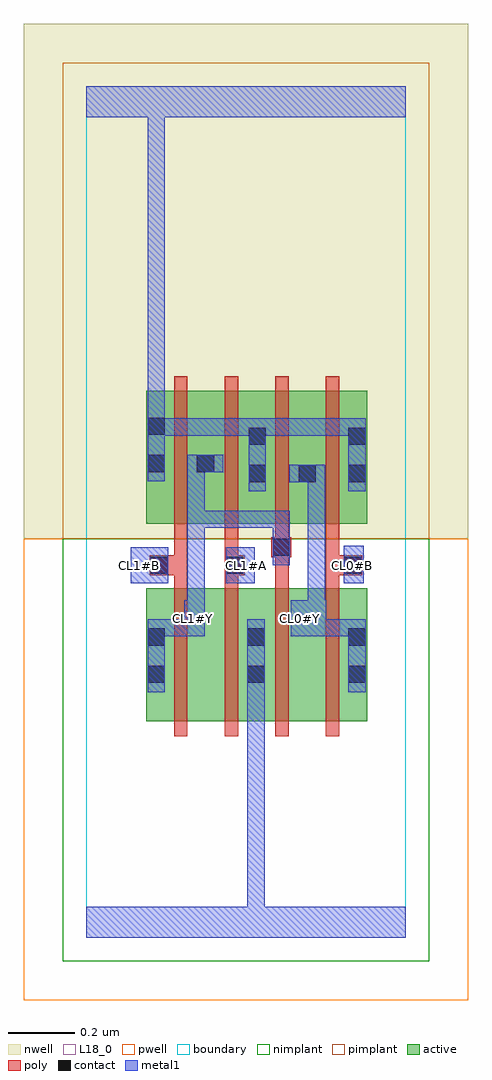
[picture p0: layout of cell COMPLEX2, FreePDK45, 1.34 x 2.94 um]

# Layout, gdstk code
import gdstk
lib = gdstk.Library(unit=1e-6, precision=1e-09)
def R(c, l, rs):  # rectangles x0, y0, x1, y1
    for r in rs: c.add(gdstk.rectangle(r[:2], r[2:], *l))
def A(c, l, x, y, w, h, nx, ny, dx, dy):  # array of equal rectangles
    R(c, l, [(x+i*dx, y+j*dy, x+i*dx+w, y+j*dy+h) for i in range(nx) for j in range(ny)])
active = (1, 0)
pwell = (2, 0)
nwell = (3, 0)
nimplant = (4, 0)
pimplant = (5, 0)
poly = (9, 0)
contact = (10, 0)
metal1 = (11, 0)
L18_0 = (18, 0)
boundary = (235, 0)

complex2 = lib.new_cell('COMPLEX2')
A(complex2, active, 0.484, 1.244, 0.06, 0.4, 3, 1, 0.15, 0)
R(complex2, active, [(0.18,0.65,0.36,1.05), (0.36,0.65,0.54,1.05), (0.48,0.65,0.664,1.05), (0.664,0.65,0.844,1.05), (0.18,0.756,0.24,1.05), (0.48,0.756,0.54,0.934), (0.784,0.756,0.844,1.05), (0.18,1.244,0.24,1.644), (0.18,1.244,0.388,1.644), (0.328,1.244,0.388,1.644), (0.328,1.244,0.544,1.644), (0.484,1.244,0.694,1.644), (0.634,1.244,0.844,1.644)])
R(complex2, pwell, [(-0.188,-0.188,1.148,1.2)])
R(complex2, nwell, [(-0.188,1.2,1.148,2.748)])
R(complex2, nimplant, [(-0.072,-0.072,1.032,1.2)])
R(complex2, pimplant, [(-0.072,1.2,1.032,2.632)])
A(complex2, poly, 0.264, 0.606, 0.04, 0.488, 4, 2, 0.152, 0.594)
R(complex2, poly, [(0.264,1.054,0.304,1.13), (0.416,1.054,0.456,1.13), (0.568,1.054,0.608,1.184), (0.72,1.054,0.76,1.13), (0.19,1.09,0.304,1.15), (0.264,1.09,0.304,1.13), (0.264,1.09,0.304,1.13), (0.416,1.09,0.476,1.15), (0.72,1.09,0.76,1.13), (0.72,1.09,0.76,1.13), (0.72,1.09,0.83,1.15), (0.264,1.11,0.304,1.24), (0.416,1.11,0.456,1.24), (0.416,1.11,0.456,1.15), (0.416,1.11,0.456,1.15), (0.72,1.11,0.76,1.24), (0.556,1.144,0.616,1.204), (0.568,1.144,0.608,1.184), (0.568,1.144,0.608,1.184), (0.568,1.164,0.608,1.24)])
A(complex2, contact, 0.488, 1.37, 0.052, 0.052, 3, 1, 0.15, 0)
R(complex2, contact, [(0.184,0.766,0.236,0.818), (0.484,0.766,0.536,0.818), (0.788,0.766,0.84,0.818), (0.184,0.878,0.236,0.93), (0.484,0.878,0.536,0.93), (0.788,0.878,0.84,0.93), (0.194,1.094,0.246,1.146), (0.42,1.094,0.472,1.146), (0.774,1.094,0.826,1.146), (0.56,1.148,0.612,1.2), (0.184,1.4,0.236,1.452), (0.332,1.4,0.384,1.452), (0.488,1.482,0.54,1.534), (0.788,1.482,0.84,1.534), (0.184,1.512,0.236,1.564)])
R(complex2, metal1, [(0,0,0.96,0.092), (0.484,0.04,0.536,0.79), (0.184,0.738,0.236,0.958), (0.484,0.738,0.536,0.79), (0.484,0.738,0.536,0.79), (0.484,0.738,0.536,0.79), (0.484,0.738,0.536,0.79), (0.484,0.738,0.536,0.79), (0.484,0.738,0.536,0.79), (0.484,0.738,0.536,0.79), (0.484,0.738,0.536,0.79), (0.484,0.738,0.536,0.79), (0.484,0.738,0.536,0.79), (0.484,0.738,0.536,0.79), (0.484,0.738,0.536,0.79), (0.484,0.738,0.536,0.958), (0.788,0.738,0.84,0.958), (0.184,0.906,0.236,0.958), (0.184,0.906,0.236,0.958), (0.184,0.906,0.236,0.958), (0.184,0.906,0.236,0.958), (0.184,0.906,0.346,0.958), (0.294,0.906,0.356,1.014), (0.614,0.906,0.722,1.014), (0.67,0.906,0.722,0.958), (0.67,0.906,0.722,0.958), (0.67,0.906,0.84,0.958), (0.788,0.906,0.84,0.958), (0.788,0.906,0.84,0.958), (0.304,0.962,0.356,1.284), (0.666,0.962,0.718,1.422), (0.134,1.066,0.246,1.174), (0.42,1.066,0.506,1.174), (0.774,1.066,0.834,1.178), (0.56,1.12,0.612,1.284), (0.304,1.232,0.356,1.284), (0.304,1.232,0.356,1.284), (0.304,1.232,0.356,1.284), (0.304,1.232,0.356,1.452), (0.304,1.232,0.466,1.284), (0.414,1.232,0.466,1.284), (0.414,1.232,0.612,1.284), (0.488,1.342,0.54,1.562), (0.788,1.342,0.84,1.562), (0.61,1.37,0.718,1.422), (0.666,1.37,0.718,1.422), (0.666,1.37,0.718,1.422), (0.184,1.372,0.236,1.592), (0.304,1.4,0.412,1.452), (0.184,1.51,0.236,1.562), (0.184,1.51,0.236,1.562), (0.184,1.51,0.356,1.562), (0.304,1.51,0.356,1.562), (0.304,1.51,0.356,1.562), (0.304,1.51,0.356,1.562), (0.304,1.51,0.54,1.562), (0.488,1.51,0.54,1.562), (0.488,1.51,0.54,1.562), (0.488,1.51,0.73,1.562), (0.678,1.51,0.73,1.562), (0.678,1.51,0.84,1.562), (0.788,1.51,0.84,1.562), (0.788,1.51,0.84,1.562), (0.184,1.54,0.236,1.592), (0.184,1.54,0.236,1.592), (0.184,1.54,0.236,2.52), (0,2.468,0.96,2.56), (0.184,2.468,0.236,2.52), (0.184,2.468,0.236,2.52), (0.184,2.468,0.236,2.52), (0.184,2.468,0.236,2.52), (0.184,2.468,0.236,2.52), (0.184,2.468,0.236,2.52), (0.184,2.468,0.236,2.52), (0.184,2.468,0.236,2.52), (0.184,2.468,0.236,2.52), (0.184,2.468,0.236,2.52), (0.184,2.468,0.236,2.52), (0.184,2.468,0.236,2.52), (0.184,2.468,0.236,2.52), (0.184,2.468,0.236,2.52)])
A(complex2, L18_0, 0.134, 1.094, 0.052, 0.052, 3, 1, 0.32, 0)
R(complex2, L18_0, [(0,0,0.96,0.092), (0.484,0.04,0.536,0.79), (0.184,0.738,0.236,0.958), (0.484,0.738,0.536,0.958), (0.484,0.738,0.536,0.79), (0.484,0.738,0.536,0.79), (0.484,0.738,0.536,0.79), (0.484,0.738,0.536,0.79), (0.484,0.738,0.536,0.79), (0.484,0.738,0.536,0.79), (0.484,0.738,0.536,0.79), (0.484,0.738,0.536,0.79), (0.484,0.738,0.536,0.79), (0.484,0.738,0.536,0.79), (0.484,0.738,0.536,0.79), (0.484,0.738,0.536,0.79), (0.788,0.738,0.84,0.958), (0.184,0.906,0.236,0.958), (0.184,0.906,0.236,0.958), (0.184,0.906,0.236,0.958), (0.184,0.906,0.236,0.958), (0.184,0.906,0.346,0.958), (0.294,0.906,0.356,1.014), (0.614,0.906,0.722,1.014), (0.67,0.906,0.722,0.958), (0.67,0.906,0.722,0.958), (0.67,0.906,0.84,0.958), (0.788,0.906,0.84,0.958), (0.788,0.906,0.84,0.958), (0.294,0.934,0.346,0.986), (0.614,0.934,0.666,0.986), (0.304,0.962,0.356,1.284), (0.666,0.962,0.718,1.422), (0.134,1.066,0.246,1.174), (0.42,1.066,0.506,1.174), (0.774,1.066,0.834,1.178), (0.56,1.12,0.612,1.284), (0.304,1.232,0.356,1.452), (0.304,1.232,0.356,1.284), (0.304,1.232,0.356,1.284), (0.304,1.232,0.356,1.284), (0.304,1.232,0.466,1.284), (0.414,1.232,0.466,1.284), (0.414,1.232,0.612,1.284), (0.488,1.342,0.54,1.562), (0.788,1.342,0.84,1.562), (0.61,1.37,0.718,1.422), (0.666,1.37,0.718,1.422), (0.666,1.37,0.718,1.422), (0.184,1.372,0.236,1.592), (0.304,1.4,0.412,1.452), (0.184,1.51,0.236,1.562), (0.184,1.51,0.236,1.562), (0.184,1.51,0.356,1.562), (0.304,1.51,0.356,1.562), (0.304,1.51,0.356,1.562), (0.304,1.51,0.356,1.562), (0.304,1.51,0.54,1.562), (0.488,1.51,0.54,1.562), (0.488,1.51,0.54,1.562), (0.488,1.51,0.73,1.562), (0.678,1.51,0.73,1.562), (0.678,1.51,0.84,1.562), (0.788,1.51,0.84,1.562), (0.788,1.51,0.84,1.562), (0.184,1.54,0.236,1.592), (0.184,1.54,0.236,1.592), (0.184,1.54,0.236,2.52), (0,2.468,0.96,2.56), (0.184,2.468,0.236,2.52), (0.184,2.468,0.236,2.52), (0.184,2.468,0.236,2.52), (0.184,2.468,0.236,2.52), (0.184,2.468,0.236,2.52), (0.184,2.468,0.236,2.52), (0.184,2.468,0.236,2.52), (0.184,2.468,0.236,2.52), (0.184,2.468,0.236,2.52), (0.184,2.468,0.236,2.52), (0.184,2.468,0.236,2.52), (0.184,2.468,0.236,2.52), (0.184,2.468,0.236,2.52), (0.184,2.468,0.236,2.52)])
R(complex2, boundary, [(0,0,0.96,2.56)])
complex2.add(gdstk.Label('CL0#B', (0.8,1.12), layer=11, texttype=0))
complex2.add(gdstk.Label('CL0#Y', (0.64,0.96), layer=11, texttype=0))
complex2.add(gdstk.Label('CL1#A', (0.48,1.12), layer=11, texttype=0))
complex2.add(gdstk.Label('CL1#B', (0.16,1.12), layer=11, texttype=0))
complex2.add(gdstk.Label('CL1#Y', (0.32,0.96), layer=11, texttype=0))

lib.write_gds('COMPLEX2.gds')
